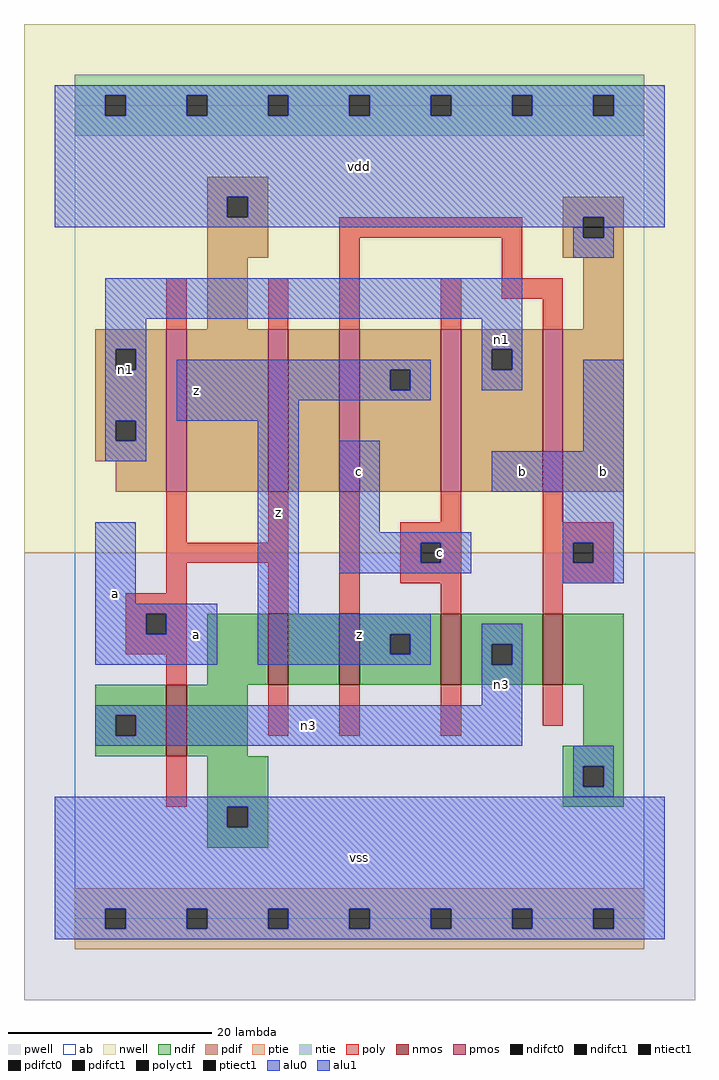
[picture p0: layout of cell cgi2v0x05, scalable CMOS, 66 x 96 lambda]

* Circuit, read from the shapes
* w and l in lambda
.subckt cgi2v0x05 a b c n1 n3 vdd vss z
M1 vss a n3 vss nfet w=7 l=2
M2 n2 a vss vss nfet w=7 l=2
M3 z b n2 vss nfet w=7 l=2
M4 n3 c z vss nfet w=7 l=2
M5 vss b n3 vss nfet w=7 l=2
M6 vdd a n1 vdd pfet w=16 l=2
M7 n4 a vdd vdd pfet w=16 l=2
M8 z b n4 vdd pfet w=16 l=2
M9 n1 c z vdd pfet w=16 l=2
M10 vdd b n1 vdd pfet w=16 l=2
.ends

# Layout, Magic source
magic
tech scmos
<< ab >>
rect 0 0 56 80
<< nwell >>
rect -5 36 61 88
<< pwell >>
rect -5 -8 61 36
<< poly >>
rect 26 67 44 69
rect 9 58 11 63
rect 19 58 21 63
rect 26 58 28 67
rect 42 63 44 67
rect 36 58 38 63
rect 42 61 48 63
rect 46 58 48 61
rect 9 37 11 42
rect 19 37 21 42
rect 9 35 21 37
rect 9 32 11 35
rect 5 30 11 32
rect 19 30 21 35
rect 26 30 28 42
rect 36 39 38 42
rect 32 37 38 39
rect 32 35 34 37
rect 36 35 38 37
rect 32 33 38 35
rect 36 30 38 33
rect 46 39 48 42
rect 46 37 53 39
rect 46 35 49 37
rect 51 35 53 37
rect 46 33 53 35
rect 46 30 48 33
rect 5 28 7 30
rect 9 28 11 30
rect 5 26 11 28
rect 9 23 11 26
rect 19 18 21 23
rect 26 18 28 23
rect 36 18 38 23
rect 46 19 48 23
rect 9 11 11 16
<< ndif >>
rect 13 23 19 30
rect 21 23 26 30
rect 28 28 36 30
rect 28 26 31 28
rect 33 26 36 28
rect 28 23 36 26
rect 38 27 46 30
rect 38 25 41 27
rect 43 25 46 27
rect 38 23 46 25
rect 48 23 54 30
rect 2 20 9 23
rect 2 18 4 20
rect 6 18 9 20
rect 2 16 9 18
rect 11 16 17 23
rect 50 17 54 23
rect 13 11 19 16
rect 48 15 54 17
rect 48 13 50 15
rect 52 13 54 15
rect 48 11 54 13
rect 13 9 15 11
rect 17 9 19 11
rect 13 7 19 9
<< pdif >>
rect 13 71 19 73
rect 13 69 15 71
rect 17 69 19 71
rect 48 69 54 71
rect 13 65 19 69
rect 13 58 17 65
rect 48 67 50 69
rect 52 67 54 69
rect 48 65 54 67
rect 50 58 54 65
rect 2 56 9 58
rect 2 54 4 56
rect 6 54 9 56
rect 2 49 9 54
rect 2 47 4 49
rect 6 47 9 49
rect 2 45 9 47
rect 4 42 9 45
rect 11 42 19 58
rect 21 42 26 58
rect 28 54 36 58
rect 28 52 31 54
rect 33 52 36 54
rect 28 42 36 52
rect 38 56 46 58
rect 38 54 41 56
rect 43 54 46 56
rect 38 42 46 54
rect 48 42 54 58
<< alu1 >>
rect -2 81 58 82
rect -2 79 3 81
rect 5 79 11 81
rect 13 79 19 81
rect 21 79 27 81
rect 29 79 35 81
rect 37 79 43 81
rect 45 79 51 81
rect 53 79 58 81
rect -2 71 58 79
rect -2 69 15 71
rect 17 69 58 71
rect -2 68 50 69
rect 52 68 58 69
rect 10 54 35 55
rect 10 52 31 54
rect 33 52 35 54
rect 10 51 35 52
rect 10 49 22 51
rect 2 31 6 39
rect 2 30 14 31
rect 2 28 7 30
rect 9 28 14 30
rect 2 25 14 28
rect 18 30 22 49
rect 26 38 30 47
rect 50 46 54 55
rect 41 42 54 46
rect 26 37 39 38
rect 26 35 34 37
rect 36 35 39 37
rect 26 34 39 35
rect 48 37 54 42
rect 48 35 49 37
rect 51 35 54 37
rect 48 33 54 35
rect 18 28 35 30
rect 18 26 31 28
rect 33 26 35 28
rect 18 25 35 26
rect -2 11 58 12
rect -2 9 15 11
rect 17 9 58 11
rect -2 1 58 9
rect -2 -1 3 1
rect 5 -1 11 1
rect 13 -1 19 1
rect 21 -1 27 1
rect 29 -1 35 1
rect 37 -1 43 1
rect 45 -1 51 1
rect 53 -1 58 1
rect -2 -2 58 -1
<< ptie >>
rect 0 1 56 3
rect 0 -1 3 1
rect 5 -1 11 1
rect 13 -1 19 1
rect 21 -1 27 1
rect 29 -1 35 1
rect 37 -1 43 1
rect 45 -1 51 1
rect 53 -1 56 1
rect 0 -3 56 -1
<< ntie >>
rect 0 81 56 83
rect 0 79 3 81
rect 5 79 11 81
rect 13 79 19 81
rect 21 79 27 81
rect 29 79 35 81
rect 37 79 43 81
rect 45 79 51 81
rect 53 79 56 81
rect 0 77 56 79
<< nmos >>
rect 19 23 21 30
rect 26 23 28 30
rect 36 23 38 30
rect 46 23 48 30
rect 9 16 11 23
<< pmos >>
rect 9 42 11 58
rect 19 42 21 58
rect 26 42 28 58
rect 36 42 38 58
rect 46 42 48 58
<< polyct1 >>
rect 34 35 36 37
rect 49 35 51 37
rect 7 28 9 30
<< ndifct0 >>
rect 41 25 43 27
rect 4 18 6 20
rect 50 13 52 15
<< ndifct1 >>
rect 31 26 33 28
rect 15 9 17 11
<< ntiect1 >>
rect 3 79 5 81
rect 11 79 13 81
rect 19 79 21 81
rect 27 79 29 81
rect 35 79 37 81
rect 43 79 45 81
rect 51 79 53 81
<< ptiect1 >>
rect 3 -1 5 1
rect 11 -1 13 1
rect 19 -1 21 1
rect 27 -1 29 1
rect 35 -1 37 1
rect 43 -1 45 1
rect 51 -1 53 1
<< pdifct0 >>
rect 50 67 52 68
rect 4 54 6 56
rect 4 47 6 49
rect 41 54 43 56
<< pdifct1 >>
rect 15 69 17 71
rect 50 68 52 69
rect 31 52 33 54
<< alu0 >>
rect 49 67 50 68
rect 52 67 53 68
rect 49 65 53 67
rect 3 59 44 63
rect 3 56 7 59
rect 3 54 4 56
rect 6 54 7 56
rect 40 56 44 59
rect 3 49 7 54
rect 40 54 41 56
rect 43 54 44 56
rect 40 52 44 54
rect 3 47 4 49
rect 6 47 7 49
rect 3 45 7 47
rect 40 27 44 29
rect 40 25 41 27
rect 43 25 44 27
rect 40 21 44 25
rect 2 20 44 21
rect 2 18 4 20
rect 6 18 44 20
rect 2 17 44 18
rect 49 15 53 17
rect 49 13 50 15
rect 52 13 53 15
rect 49 12 53 13
<< labels >>
rlabel alu0 5 54 5 54 6 n1
rlabel alu0 42 23 42 23 6 n3
rlabel alu0 23 19 23 19 6 n3
rlabel alu0 42 57 42 57 6 n1
rlabel alu1 4 32 4 32 6 a
rlabel alu1 12 28 12 28 6 a
rlabel alu1 20 40 20 40 6 z
rlabel alu1 12 52 12 52 6 z
rlabel alu1 28 6 28 6 6 vss
rlabel alu1 28 28 28 28 6 z
rlabel alu1 36 36 36 36 6 c
rlabel alu1 28 44 28 44 6 c
rlabel alu1 28 74 28 74 6 vdd
rlabel alu1 52 44 52 44 6 b
rlabel alu1 44 44 44 44 6 b
<< end >>
